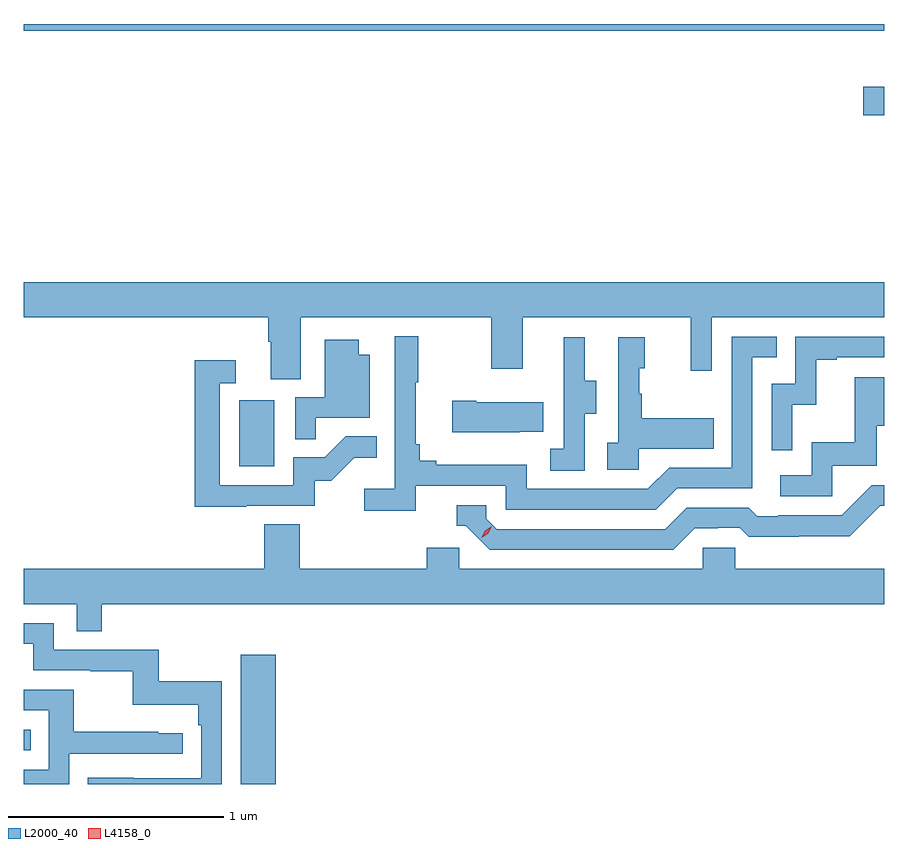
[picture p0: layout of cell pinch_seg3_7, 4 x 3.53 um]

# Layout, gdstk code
import gdstk
lib = gdstk.Library(unit=1e-6, precision=1e-09)
def R(c, l, rs):  # rectangles x0, y0, x1, y1
    for r in rs: c.add(gdstk.rectangle(r[:2], r[2:], *l))
def P(c, l, *ps):  # polygons
    for p in ps: c.add(gdstk.Polygon(p, *l))
L2000_40 = (2000, 40)
L4158_0 = (4158, 0)

pinch_seg3_7 = lib.new_cell('pinch_seg3_7')
R(pinch_seg3_7, L2000_40, [(1127.699,745.368,1127.86,745.969), (1126.689,745.524,1126.721,745.62), (1127.69,746.844,1127.854,747.151), (1130.592,748.475,1130.689,748.609), (1126.689,748.868,1130.689,748.9)])
P(pinch_seg3_7, L2000_40, [(1127.977,747.536),(1128.862,747.536),(1128.862,747.297),(1129.009,747.297),(1129.009,747.536),(1129.79,747.536),(1129.79,747.288),(1129.887,747.288),(1129.887,747.536),(1130.689,747.536),(1130.689,747.7),(1126.689,747.7),(1126.689,747.536),(1127.825,747.536),(1127.825,747.424),(1127.837,747.424),(1127.837,747.25),(1127.977,747.25)],
  [(1128.512,746.754),(1128.93,746.754),(1128.93,746.643),(1129.627,746.643),(1129.726,746.742),(1130.076,746.742),(1130.076,747.351),(1130.189,747.351),(1130.189,747.447),(1129.98,747.447),(1129.98,746.838),(1129.689,746.838),(1129.59,746.739),(1129.026,746.739),(1129.026,746.851),(1128.607,746.851),(1128.607,746.87),(1128.53,746.87),(1128.53,746.947),(1128.511,746.947),(1128.511,747.235),(1128.523,747.235),(1128.523,747.448),(1128.414,747.448),(1128.414,746.74),(1128.273,746.74),(1128.273,746.638),(1128.512,746.638)],
  [(1130.262,747.131),(1130.372,747.131),(1130.372,747.339),(1130.467,747.339),(1130.467,747.351),(1130.689,747.351),(1130.689,747.447),(1130.274,747.447),(1130.274,747.228),(1130.166,747.228),(1130.166,746.919),(1130.262,746.919)],
  [(1129.548,746.927),(1129.895,746.927),(1129.895,747.067),(1129.561,747.067),(1129.561,747.182),(1129.551,747.182),(1129.551,747.3),(1129.576,747.3),(1129.576,747.445),(1129.452,747.445),(1129.452,746.954),(1129.401,746.954),(1129.401,746.829),(1129.548,746.829)],
  [(1129.296,747.088),(1129.351,747.088),(1129.351,747.243),(1129.297,747.243),(1129.297,747.445),(1129.199,747.445),(1129.199,747.231),(1129.2,747.231),(1129.2,746.927),(1129.137,746.927),(1129.137,746.824),(1129.296,746.824)],
  [(1128.047,747.069),(1128.298,747.069),(1128.298,747.364),(1128.247,747.364),(1128.247,747.433),(1128.089,747.433),(1128.089,747.165),(1127.952,747.165),(1127.952,746.971),(1128.047,746.971)],
  [(1127.723,746.661),(1128.042,746.661),(1128.042,746.778),(1128.118,746.778),(1128.225,746.885),(1128.329,746.885),(1128.329,746.983),(1128.185,746.983),(1128.088,746.886),(1127.943,746.886),(1127.943,746.757),(1127.601,746.757),(1127.601,747.231),(1127.674,747.231),(1127.674,747.337),(1127.485,747.337),(1127.485,746.656),(1127.723,746.656)],
  [(1130.448,746.847),(1130.653,746.847),(1130.653,747.033),(1130.689,747.033),(1130.689,747.259),(1130.551,747.259),(1130.551,746.956),(1130.352,746.956),(1130.352,746.802),(1130.205,746.802),(1130.205,746.706),(1130.448,746.706)],
  [(1128.995,747.005),(1129.103,747.005),(1129.103,747.142),(1128.793,747.142),(1128.793,747.15),(1128.681,747.15),(1128.681,747.002),(1128.995,747.002)],
  [(1129.807,746.556),(1129.914,746.556),(1129.914,746.559),(1130.017,746.559),(1130.059,746.517),(1130.292,746.517),(1130.292,746.519),(1130.528,746.519),(1130.67,746.661),(1130.689,746.661),(1130.689,746.757),(1130.631,746.757),(1130.49,746.616),(1130.197,746.616),(1130.197,746.613),(1130.098,746.613),(1130.059,746.652),(1129.77,746.652),(1129.671,746.553),(1128.888,746.553),(1128.84,746.601),(1128.84,746.664),(1128.701,746.664),(1128.701,746.568),(1128.744,746.568),(1128.855,746.457),(1129.708,746.457)],
  [(1127.051,746.204),(1130.689,746.204),(1130.689,746.368),(1129.995,746.368),(1129.995,746.466),(1129.845,746.466),(1129.845,746.368),(1128.714,746.368),(1128.714,746.466),(1128.563,746.466),(1128.563,746.368),(1127.972,746.368),(1127.972,746.576),(1127.807,746.576),(1127.807,746.368),(1126.689,746.368),(1126.689,746.204),(1126.935,746.204),(1126.935,746.077),(1127.051,746.077)],
  [(1127.61,745.846),(1127.317,745.846),(1127.317,745.992),(1126.83,745.992),(1126.83,746.115),(1126.689,746.115),(1126.689,746.019),(1126.734,746.019),(1126.734,745.896),(1126.999,745.896),(1126.999,745.891),(1127.196,745.891),(1127.196,745.736),(1127.501,745.736),(1127.501,745.64),(1127.514,745.64),(1127.514,745.395),(1127.201,745.395),(1127.201,745.396),(1126.987,745.396),(1126.987,745.368),(1127.61,745.368)],
  [(1126.902,745.509),(1127.428,745.509),(1127.428,745.605),(1127.315,745.605),(1127.315,745.61),(1126.922,745.61),(1126.922,745.806),(1126.689,745.806),(1126.689,745.71),(1126.806,745.71),(1126.806,745.434),(1126.689,745.434),(1126.689,745.368),(1126.902,745.368)])
P(pinch_seg3_7, L4158_0, [(1128.818,746.513),(1128.818,746.514),(1128.834,746.546),(1128.864,746.566),(1128.865,746.566),(1128.865,746.566),(1128.849,746.533),(1128.819,746.513)])

lib.write_gds('pinch_seg3_7.gds')
